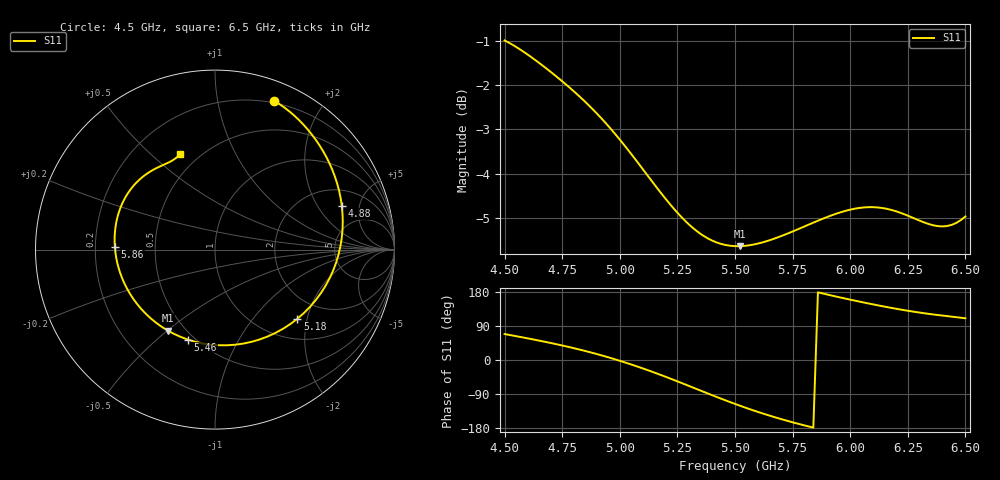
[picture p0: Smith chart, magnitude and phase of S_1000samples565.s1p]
! TOUCHSTONE file generated by CST MICROWAVE STUDIO
! Date and time: Fri Oct 28 15:05:08 2022
! Project name: L.cst
! Parameters = {Di=1.27; Epsilon_r=1.56; InnerDiameter=1.27; Length=2; Lf=10; Lg=60; OuterConductorThickness=0.2921; OuterDiameter=3.6; Wf=3; Wp=41.2; de=1.5; df=6.8; g=0.8; gx=2.9623; gy=1.49951; h=2.34; hf=1.524; px=12.0794; py=11.3232; w=9.7; wx=9.11707; wy=9.82368}
! Header version: 2018
! Port assignment regex: !\s*Touchstone port\s*([0-9]+)\s*=\s*(CST MWS port|CST DS port)\s*([0-9]+|Zmin|Zmax)\s*\(\"(.*)\"\)(\s*mode\s*([0-9]+))?.*
! Touchstone port assignment:
! Touchstone port 1 = CST MWS port 1 ("")
# GHz S DB R 50
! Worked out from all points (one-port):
!   101 points, 4.5 GHz to 6.5 GHz, reference 50 ohm
!   lowest |S11| = -5.6 dB at 5.52 GHz (marker M1), VSWR 3.19, Z = 20.2 - j25.1 ohm
!   |S11| at or under -10 dB: nowhere
!   S11 on the Smith chart (normalised r, x): 4.5 GHz: 0.18, +1.46; 4.88 GHz: 3.03, +3.35; 5.18 GHz: 1.46, -1.75; 5.46 GHz: 0.46, -0.64; 5.86 GHz: 0.28, +0.01; 6.5 GHz: 0.40, +0.62
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4.5  -0.99 68.4
4.62  -1.38 54.7
4.76  -1.95 36.9
4.82  -2.23 28.4
4.88  -2.53 19.0
4.94  -2.86 8.9
5  -3.23 -2.1
5.08  -3.76 -18.0
5.12  -4.04 -26.6
5.18  -4.45 -40.0
5.26  -4.94 -58.8
5.3  -5.15 -68.4
5.36  -5.40 -83.0
5.4  -5.52 -92.6
5.46  -5.62 -106.8
5.5  -5.64 -115.9
5.52  -5.64 -120.3
5.58  -5.61 -133.0
5.64  -5.53 -144.9
5.7  -5.42 -155.9
5.76  -5.29 -166.0
5.86  -5.07 178.6
5.92  -4.94 170.1
6  -4.82 159.3
6.14  -4.78 141.9
6.26  -4.97 129.0
6.4  -5.20 117.3
6.5  -4.97 110.1
